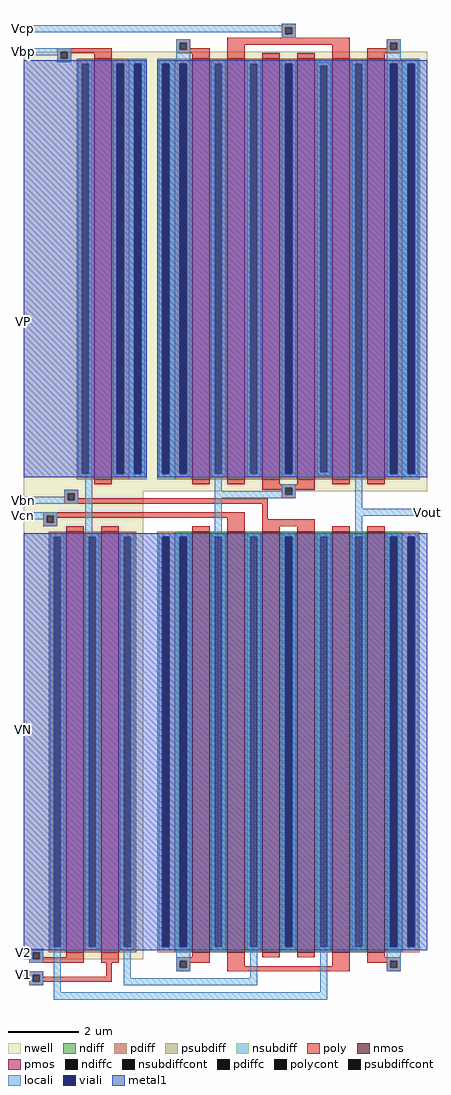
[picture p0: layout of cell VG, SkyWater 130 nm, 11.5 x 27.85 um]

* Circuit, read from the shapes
.subckt VG V1 V2 VN VP Vbn Vbp Vcn Vcp Vout
XM1 n1 VN VN VN sky130_fd_pr__nfet_01v8 w=12 l=0.5
XM2 n2 Vcn n1 VN sky130_fd_pr__nfet_01v8 w=12 l=0.5
XM3 VN Vbn n2 VN sky130_fd_pr__nfet_01v8 w=12 l=0.5
XM4 n3 Vbn VN VN sky130_fd_pr__nfet_01v8 w=12 l=0.5
XM5 Vout Vcn n3 VN sky130_fd_pr__nfet_01v8 w=12 l=0.5
XM6 VN VN Vout VN sky130_fd_pr__nfet_01v8 w=12 l=0.5
XM7 n4 V2 n3 VP sky130_fd_pr__pfet_01v8 w=12 l=0.5
XM8 VP Vbp n4 VP sky130_fd_pr__pfet_01v8 w=12 l=0.5
XM9 n2 V1 n4 VP sky130_fd_pr__pfet_01v8 w=12 l=0.5
XM10 n1 VP VP VP sky130_fd_pr__pfet_01v8 w=12 l=0.5
XM11 n5 Vcp n1 VP sky130_fd_pr__pfet_01v8 w=12 l=0.5
XM12 VP n1 n5 VP sky130_fd_pr__pfet_01v8 w=12 l=0.5
XM13 n6 n1 VP VP sky130_fd_pr__pfet_01v8 w=12 l=0.5
XM14 Vout Vcp n6 VP sky130_fd_pr__pfet_01v8 w=12 l=0.5
XM15 VP VP Vout VP sky130_fd_pr__pfet_01v8 w=12 l=0.5
.ends

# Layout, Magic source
magic
tech sky130A
<< nwell >>
rect 1435 155 2585 1410
rect 1435 -1180 1775 155
<< nmos >>
rect 1915 -1160 1965 40
rect 2015 -1160 2065 40
rect 2115 -1160 2165 40
rect 2215 -1160 2265 40
rect 2315 -1160 2365 40
rect 2415 -1160 2465 40
<< pmos >>
rect 1635 190 1685 1390
rect 1915 190 1965 1390
rect 2015 190 2065 1390
rect 2115 190 2165 1390
rect 2215 190 2265 1390
rect 2315 190 2365 1390
rect 2415 190 2465 1390
rect 1555 -1160 1605 40
rect 1655 -1160 1705 40
<< ndiff >>
rect 1865 25 1915 40
rect 1865 -1145 1880 25
rect 1900 -1145 1915 25
rect 1865 -1160 1915 -1145
rect 1965 25 2015 40
rect 1965 -1145 1980 25
rect 2000 -1145 2015 25
rect 1965 -1160 2015 -1145
rect 2065 25 2115 40
rect 2065 -1145 2080 25
rect 2100 -1145 2115 25
rect 2065 -1160 2115 -1145
rect 2165 25 2215 40
rect 2165 -1145 2180 25
rect 2200 -1145 2215 25
rect 2165 -1160 2215 -1145
rect 2265 25 2315 40
rect 2265 -1145 2280 25
rect 2300 -1145 2315 25
rect 2265 -1160 2315 -1145
rect 2365 25 2415 40
rect 2365 -1145 2380 25
rect 2400 -1145 2415 25
rect 2365 -1160 2415 -1145
rect 2465 25 2515 40
rect 2465 -1145 2480 25
rect 2500 -1145 2515 25
rect 2465 -1160 2515 -1145
<< pdiff >>
rect 1585 1375 1635 1390
rect 1585 205 1600 1375
rect 1620 205 1635 1375
rect 1585 190 1635 205
rect 1685 1375 1735 1390
rect 1685 205 1700 1375
rect 1720 205 1735 1375
rect 1685 190 1735 205
rect 1865 1375 1915 1390
rect 1865 205 1880 1375
rect 1900 205 1915 1375
rect 1865 190 1915 205
rect 1965 1375 2015 1390
rect 1965 205 1980 1375
rect 2000 205 2015 1375
rect 1965 190 2015 205
rect 2065 1375 2115 1390
rect 2065 205 2080 1375
rect 2100 205 2115 1375
rect 2065 190 2115 205
rect 2165 1375 2215 1390
rect 2165 205 2180 1375
rect 2200 205 2215 1375
rect 2165 190 2215 205
rect 2265 1370 2315 1390
rect 2265 210 2280 1370
rect 2300 210 2315 1370
rect 2265 190 2315 210
rect 2365 1375 2415 1390
rect 2365 205 2380 1375
rect 2400 205 2415 1375
rect 2365 190 2415 205
rect 2465 1375 2515 1390
rect 2465 205 2480 1375
rect 2500 205 2515 1375
rect 2465 190 2515 205
rect 1505 25 1555 40
rect 1505 -1145 1520 25
rect 1540 -1145 1555 25
rect 1505 -1160 1555 -1145
rect 1605 25 1655 40
rect 1605 -1145 1620 25
rect 1640 -1145 1655 25
rect 1605 -1160 1655 -1145
rect 1705 25 1755 40
rect 1705 -1145 1720 25
rect 1740 -1145 1755 25
rect 1705 -1160 1755 -1145
<< ndiffc >>
rect 1880 -1145 1900 25
rect 1980 -1145 2000 25
rect 2080 -1145 2100 25
rect 2180 -1145 2200 25
rect 2280 -1145 2300 25
rect 2380 -1145 2400 25
rect 2480 -1145 2500 25
<< pdiffc >>
rect 1600 205 1620 1375
rect 1700 205 1720 1375
rect 1880 205 1900 1375
rect 1980 205 2000 1375
rect 2080 205 2100 1375
rect 2180 205 2200 1375
rect 2280 210 2300 1370
rect 2380 205 2400 1375
rect 2480 205 2500 1375
rect 1520 -1145 1540 25
rect 1620 -1145 1640 25
rect 1720 -1145 1740 25
<< psubdiff >>
rect 1815 25 1865 40
rect 1815 -1145 1830 25
rect 1850 -1145 1865 25
rect 1815 -1160 1865 -1145
rect 2515 25 2565 40
rect 2515 -1145 2530 25
rect 2550 -1145 2565 25
rect 2515 -1160 2565 -1145
<< nsubdiff >>
rect 1735 1375 1785 1390
rect 1735 205 1750 1375
rect 1770 205 1785 1375
rect 1735 190 1785 205
rect 1815 1375 1865 1390
rect 1815 205 1830 1375
rect 1850 205 1865 1375
rect 1815 190 1865 205
rect 2515 1375 2565 1390
rect 2515 205 2530 1375
rect 2550 205 2565 1375
rect 2515 190 2565 205
<< psubdiffcont >>
rect 1830 -1145 1850 25
rect 2530 -1145 2550 25
<< nsubdiffcont >>
rect 1750 205 1770 1375
rect 1830 205 1850 1375
rect 2530 205 2550 1375
<< poly >>
rect 2170 1480 2210 1490
rect 2170 1460 2180 1480
rect 2200 1460 2210 1480
rect 2170 1450 2210 1460
rect 1870 1435 1910 1445
rect 1530 1410 1685 1420
rect 1530 1390 1540 1410
rect 1560 1405 1685 1410
rect 1870 1415 1880 1435
rect 1900 1420 1910 1435
rect 2015 1430 2365 1450
rect 1900 1415 1965 1420
rect 1870 1405 1965 1415
rect 1560 1390 1570 1405
rect 1635 1390 1685 1405
rect 1915 1390 1965 1405
rect 2015 1390 2065 1430
rect 2115 1390 2165 1405
rect 2215 1390 2265 1405
rect 2315 1390 2365 1430
rect 2470 1435 2510 1445
rect 2470 1420 2480 1435
rect 2415 1415 2480 1420
rect 2500 1415 2510 1435
rect 2415 1405 2510 1415
rect 2415 1390 2465 1405
rect 1530 1380 1570 1390
rect 1635 175 1685 190
rect 1915 175 1965 190
rect 2015 175 2065 190
rect 2115 175 2165 190
rect 2215 175 2265 190
rect 2315 175 2365 190
rect 2415 175 2465 190
rect 2115 165 2265 175
rect 2115 160 2180 165
rect 1550 150 1590 160
rect 1550 130 1560 150
rect 1580 135 1590 150
rect 2170 145 2180 160
rect 2200 160 2265 165
rect 2200 145 2210 160
rect 2170 135 2210 145
rect 1580 130 2130 135
rect 1550 120 2130 130
rect 1490 85 2065 95
rect 1490 65 1500 85
rect 1520 80 2065 85
rect 1520 65 1530 80
rect 1490 55 1530 65
rect 1555 40 1605 55
rect 1655 40 1705 55
rect 1915 40 1965 55
rect 2015 40 2065 80
rect 2115 75 2130 120
rect 2115 55 2265 75
rect 2115 40 2165 55
rect 2215 40 2265 55
rect 2315 40 2365 55
rect 2415 40 2465 55
rect 1450 -1160 1490 -1150
rect 1450 -1180 1460 -1160
rect 1480 -1175 1490 -1160
rect 1555 -1175 1605 -1160
rect 1480 -1180 1605 -1175
rect 1450 -1190 1605 -1180
rect 1655 -1190 1705 -1160
rect 1915 -1175 1965 -1160
rect 1870 -1185 1965 -1175
rect 1450 -1225 1490 -1215
rect 1450 -1245 1460 -1225
rect 1480 -1230 1490 -1225
rect 1670 -1230 1685 -1190
rect 1870 -1205 1880 -1185
rect 1900 -1190 1965 -1185
rect 1900 -1205 1910 -1190
rect 1870 -1215 1910 -1205
rect 2015 -1200 2065 -1160
rect 2115 -1175 2165 -1160
rect 2215 -1175 2265 -1160
rect 2315 -1200 2365 -1160
rect 2415 -1175 2465 -1160
rect 2415 -1185 2510 -1175
rect 2415 -1190 2480 -1185
rect 2015 -1215 2365 -1200
rect 2470 -1205 2480 -1190
rect 2500 -1205 2510 -1185
rect 2470 -1215 2510 -1205
rect 1480 -1245 1685 -1230
rect 1450 -1255 1490 -1245
<< polycont >>
rect 2180 1460 2200 1480
rect 1540 1390 1560 1410
rect 1880 1415 1900 1435
rect 2480 1415 2500 1435
rect 1560 130 1580 150
rect 2180 145 2200 165
rect 1500 65 1520 85
rect 1460 -1180 1480 -1160
rect 1460 -1245 1480 -1225
rect 1880 -1205 1900 -1185
rect 2480 -1205 2500 -1185
<< locali >>
rect 2170 1485 2210 1490
rect 1435 1480 2210 1485
rect 1435 1465 2180 1480
rect 2170 1460 2180 1465
rect 2200 1460 2210 1480
rect 2170 1450 2210 1460
rect 1870 1435 1910 1445
rect 1435 1410 1570 1420
rect 1435 1400 1540 1410
rect 1530 1390 1540 1400
rect 1560 1390 1570 1410
rect 1530 1380 1570 1390
rect 1870 1415 1880 1435
rect 1900 1415 1910 1435
rect 1870 1385 1910 1415
rect 2470 1435 2510 1445
rect 2470 1415 2480 1435
rect 2500 1415 2510 1435
rect 2470 1385 2510 1415
rect 1590 1375 1630 1385
rect 1590 205 1600 1375
rect 1620 205 1630 1375
rect 1590 195 1630 205
rect 1690 1375 1780 1385
rect 1690 205 1700 1375
rect 1720 205 1750 1375
rect 1770 205 1780 1375
rect 1690 195 1780 205
rect 1820 1375 1910 1385
rect 1820 205 1830 1375
rect 1850 205 1880 1375
rect 1900 205 1910 1375
rect 1820 195 1910 205
rect 1970 1375 2010 1385
rect 1970 205 1980 1375
rect 2000 205 2010 1375
rect 1970 195 2010 205
rect 2070 1375 2110 1385
rect 2070 205 2080 1375
rect 2100 205 2110 1375
rect 2070 195 2110 205
rect 2170 1375 2210 1385
rect 2170 205 2180 1375
rect 2200 205 2210 1375
rect 2170 195 2210 205
rect 2270 1370 2310 1380
rect 2270 210 2280 1370
rect 2300 210 2310 1370
rect 2270 200 2310 210
rect 2370 1375 2410 1385
rect 2370 205 2380 1375
rect 2400 205 2410 1375
rect 2370 195 2410 205
rect 2470 1375 2560 1385
rect 2470 205 2480 1375
rect 2500 205 2530 1375
rect 2550 205 2560 1375
rect 2470 195 2560 205
rect 1550 150 1590 160
rect 1550 140 1560 150
rect 1435 130 1560 140
rect 1580 130 1590 150
rect 1435 120 1590 130
rect 1435 85 1530 95
rect 1435 75 1500 85
rect 1490 65 1500 75
rect 1520 65 1530 85
rect 1490 55 1530 65
rect 1610 35 1630 195
rect 1980 155 2000 195
rect 2170 165 2210 175
rect 2170 155 2180 165
rect 1980 145 2180 155
rect 2200 145 2210 165
rect 1980 135 2210 145
rect 1980 35 2000 135
rect 2380 105 2400 195
rect 2380 85 2585 105
rect 2380 35 2400 85
rect 1510 25 1550 35
rect 1510 -1145 1520 25
rect 1540 -1145 1550 25
rect 1435 -1160 1490 -1150
rect 1510 -1155 1550 -1145
rect 1610 25 1650 35
rect 1610 -1145 1620 25
rect 1640 -1145 1650 25
rect 1610 -1155 1650 -1145
rect 1710 25 1750 35
rect 1710 -1145 1720 25
rect 1740 -1145 1750 25
rect 1710 -1155 1750 -1145
rect 1820 25 1910 35
rect 1820 -1145 1830 25
rect 1850 -1145 1880 25
rect 1900 -1145 1910 25
rect 1820 -1155 1910 -1145
rect 1970 25 2010 35
rect 1970 -1145 1980 25
rect 2000 -1145 2010 25
rect 1970 -1155 2010 -1145
rect 2070 25 2110 35
rect 2070 -1145 2080 25
rect 2100 -1145 2110 25
rect 2070 -1155 2110 -1145
rect 2170 25 2210 35
rect 2170 -1145 2180 25
rect 2200 -1145 2210 25
rect 2170 -1155 2210 -1145
rect 2270 25 2310 35
rect 2270 -1145 2280 25
rect 2300 -1145 2310 25
rect 2270 -1155 2310 -1145
rect 2370 25 2410 35
rect 2370 -1145 2380 25
rect 2400 -1145 2410 25
rect 2370 -1155 2410 -1145
rect 2470 25 2560 35
rect 2470 -1145 2480 25
rect 2500 -1145 2530 25
rect 2550 -1145 2560 25
rect 2470 -1155 2560 -1145
rect 1435 -1170 1460 -1160
rect 1450 -1180 1460 -1170
rect 1480 -1180 1490 -1160
rect 1450 -1190 1490 -1180
rect 1435 -1225 1490 -1215
rect 1435 -1235 1460 -1225
rect 1450 -1245 1460 -1235
rect 1480 -1245 1490 -1225
rect 1450 -1255 1490 -1245
rect 1520 -1275 1540 -1155
rect 1720 -1235 1740 -1155
rect 1870 -1185 1910 -1155
rect 1870 -1205 1880 -1185
rect 1900 -1205 1910 -1185
rect 1870 -1215 1910 -1205
rect 2080 -1235 2100 -1155
rect 1720 -1255 2100 -1235
rect 2280 -1275 2300 -1155
rect 2470 -1185 2510 -1155
rect 2470 -1205 2480 -1185
rect 2500 -1205 2510 -1185
rect 2470 -1215 2510 -1205
rect 1520 -1295 2300 -1275
<< viali >>
rect 1700 205 1720 1375
rect 1750 205 1770 1375
rect 1830 205 1850 1375
rect 1880 205 1900 1375
rect 2180 205 2200 1375
rect 2480 205 2500 1375
rect 2530 205 2550 1375
rect 1830 -1145 1850 25
rect 1880 -1145 1900 25
rect 2180 -1145 2200 25
rect 2480 -1145 2500 25
rect 2530 -1145 2550 25
<< metal1 >>
rect 1435 1375 1785 1385
rect 1435 205 1700 1375
rect 1720 205 1750 1375
rect 1770 205 1785 1375
rect 1435 195 1785 205
rect 1815 1375 2585 1385
rect 1815 205 1830 1375
rect 1850 205 1880 1375
rect 1900 205 2180 1375
rect 2200 205 2480 1375
rect 2500 205 2530 1375
rect 2550 205 2585 1375
rect 1815 195 2585 205
rect 1435 25 2585 35
rect 1435 -1145 1830 25
rect 1850 -1145 1880 25
rect 1900 -1145 2180 25
rect 2200 -1145 2480 25
rect 2500 -1145 2530 25
rect 2550 -1145 2585 25
rect 1435 -1155 2585 -1145
<< labels >>
rlabel locali 2585 95 2585 95 3 Vout
rlabel locali 1435 130 1435 130 7 Vbn
rlabel locali 1435 -1225 1435 -1225 7 V1
rlabel locali 1435 -1160 1435 -1160 7 V2
rlabel locali 1435 85 1435 85 7 Vcn
rlabel locali 1435 1475 1435 1475 7 Vcp
rlabel locali 1435 1410 1435 1410 7 Vbp
rlabel metal1 1435 640 1435 640 7 VP
rlabel metal1 1435 -525 1435 -525 7 VN
<< end >>
